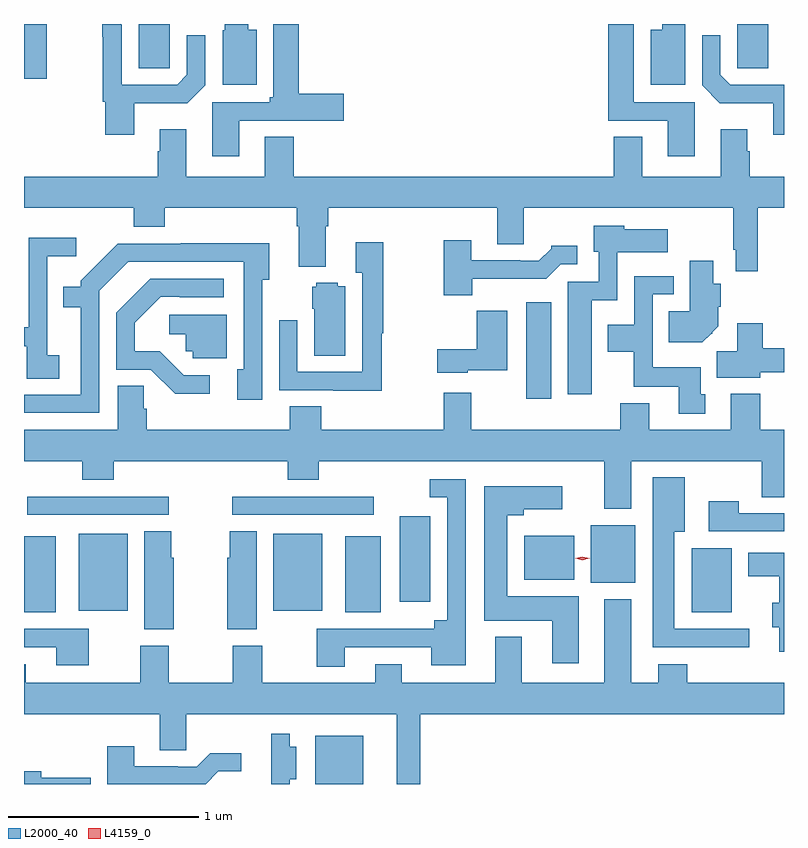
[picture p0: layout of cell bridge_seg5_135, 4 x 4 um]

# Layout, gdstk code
import gdstk
lib = gdstk.Library(unit=1e-6, precision=1e-09)
def R(c, l, rs):  # rectangles x0, y0, x1, y1
    for r in rs: c.add(gdstk.rectangle(r[:2], r[2:], *l))
def P(c, l, *ps):  # polygons
    for p in ps: c.add(gdstk.Polygon(p, *l))
L2000_40 = (2000, 40)
L4159_0 = (4159, 0)

bridge_seg5_135 = lib.new_cell('bridge_seg5_135')
R(bridge_seg5_135, L2000_40, [(313.658,892.356,313.909,892.609), (312.124,893.261,312.292,893.659), (313.814,893.261,314.002,893.659), (315.638,893.261,315.85,893.596), (312.413,893.267,312.67,893.674), (313.436,893.267,313.693,893.674), (314.102,893.316,314.263,893.764), (315.107,893.414,315.34,893.719), (314.756,893.432,315.019,893.662), (312.141,893.772,312.886,893.868), (313.221,893.772,313.966,893.868), (314.768,894.384,314.899,894.892), (312.124,896.067,312.244,896.356)])
P(bridge_seg5_135, L2000_40, [(315.604,896.356),(315.482,896.356),(315.482,896.326),(315.422,896.326),(315.422,896.036),(315.604,896.036)],
  [(315.655,895.944),(315.334,895.944),(315.334,896.356),(315.2,896.356),(315.2,895.848),(315.512,895.848),(315.512,895.659),(315.655,895.659)],
  [(313.258,895.848),(313.554,895.848),(313.554,895.846),(313.807,895.846),(313.807,895.988),(313.571,895.988),(313.571,896.356),(313.436,896.356),(313.436,895.971),(313.418,895.971),(313.418,895.944),(313.115,895.944),(313.115,895.659),(313.258,895.659)],
  [(312.891,896.233),(312.892,896.233),(312.892,896.356),(312.729,896.356),(312.729,896.122),(312.891,896.122)],
  [(316.041,896.356),(315.878,896.356),(315.878,896.233),(315.879,896.233),(315.879,896.122),(316.041,896.122)],
  [(313.348,896.326),(313.303,896.326),(313.303,896.356),(313.181,896.356),(313.181,896.322),(313.169,896.322),(313.169,896.036),(313.348,896.036)],
  [(312.703,895.94),(312.983,895.94),(313.077,896.034),(313.077,896.296),(312.981,896.296),(312.981,896.088),(312.93,896.037),(312.639,896.037),(312.639,896.351),(312.636,896.351),(312.636,896.356),(312.536,896.356),(312.536,896.29),(312.538,896.29),(312.538,895.947),(312.551,895.947),(312.551,895.773),(312.703,895.773)],
  [(316.124,896.037),(315.84,896.037),(315.789,896.088),(315.789,896.296),(315.693,896.296),(315.693,896.034),(315.787,895.94),(316.067,895.94),(316.067,895.773),(316.124,895.773)],
  [(315.986,895.388),(316.124,895.388),(316.124,895.552),(315.944,895.552),(315.944,895.685),(315.931,895.685),(315.931,895.801),(315.791,895.801),(315.791,895.552),(315.379,895.552),(315.379,895.763),(315.227,895.763),(315.227,895.552),(313.544,895.552),(313.544,895.763),(313.391,895.763),(313.391,895.552),(312.979,895.552),(312.979,895.801),(312.839,895.801),(312.839,895.685),(312.827,895.685),(312.827,895.552),(312.124,895.552),(312.124,895.388),(312.701,895.388),(312.701,895.289),(312.866,895.289),(312.866,895.388),(313.559,895.388),(313.559,895.292),(313.571,895.292),(313.571,895.079),(313.711,895.079),(313.711,895.292),(313.724,895.292),(313.724,895.388),(314.615,895.388),(314.615,895.198),(314.755,895.198),(314.755,895.388),(315.858,895.388),(315.858,895.168),(315.87,895.168),(315.87,895.056),(315.986,895.056)],
  [(315.112,894.902),(315.246,894.902),(315.246,895.154),(315.511,895.154),(315.511,895.276),(315.282,895.276),(315.282,895.294),(315.122,895.294),(315.122,895.158),(315.15,895.158),(315.15,894.999),(314.987,894.999),(314.987,894.408),(315.112,894.408)],
  [(312.31,894.612),(312.246,894.612),(312.246,895.133),(312.4,895.133),(312.4,895.231),(312.148,895.231),(312.148,894.992),(312.15,894.992),(312.15,894.759),(312.124,894.759),(312.124,894.661),(312.138,894.661),(312.138,894.49),(312.31,894.49)],
  [(314.482,895.016),(314.873,895.016),(314.949,895.092),(315.037,895.092),(315.037,895.189),(314.898,895.189),(314.898,895.174),(314.834,895.11),(314.735,895.11),(314.735,895.113),(314.479,895.113),(314.479,895.219),(314.332,895.219),(314.332,894.929),(314.482,894.929)],
  [(314.006,894.729),(314.014,894.729),(314.014,895.207),(313.871,895.207),(313.871,895.046),(313.905,895.046),(313.905,894.525),(313.563,894.525),(313.563,894.796),(313.467,894.796),(313.467,894.429),(313.751,894.429),(313.751,894.425),(314.006,894.425)],
  [(312.519,894.951),(312.672,895.104),(313.281,895.104),(313.281,894.538),(313.247,894.538),(313.247,894.378),(313.377,894.378),(313.377,895.01),(313.414,895.01),(313.414,895.202),(312.949,895.202),(312.949,895.2),(312.618,895.2),(312.423,895.005),(312.423,894.973),(312.331,894.973),(312.331,894.864),(312.422,894.864),(312.422,894.405),(312.124,894.405),(312.124,894.309),(312.519,894.309)],
  [(315.741,894.726),(315.747,894.726),(315.747,894.734),(315.778,894.765),(315.778,894.868),(315.791,894.868),(315.791,894.99),(315.751,894.99),(315.751,895.111),(315.629,895.111),(315.629,894.844),(315.517,894.844),(315.517,894.68),(315.695,894.68)],
  [(315.709,894.408),(315.685,894.408),(315.685,894.55),(315.432,894.55),(315.432,894.933),(315.544,894.933),(315.544,895.029),(315.336,895.029),(315.336,894.772),(315.197,894.772),(315.197,894.632),(315.334,894.632),(315.334,894.446),(315.569,894.446),(315.569,894.306),(315.709,894.306)],
  [(313.102,894.507),(312.966,894.507),(312.839,894.634),(312.706,894.634),(312.706,894.784),(312.843,894.921),(312.943,894.921),(312.943,894.918),(313.174,894.918),(313.174,895.014),(312.788,895.014),(312.609,894.835),(312.609,894.537),(312.792,894.537),(312.92,894.41),(313.102,894.41)],
  [(313.816,894.976),(313.776,894.976),(313.776,894.994),(313.662,894.994),(313.662,894.972),(313.64,894.972),(313.64,894.858),(313.652,894.858),(313.652,894.61),(313.816,894.61)],
  [(314.46,894.533),(314.668,894.533),(314.668,894.847),(314.506,894.847),(314.506,894.643),(314.298,894.643),(314.298,894.521),(314.46,894.521)],
  [(313.192,894.825),(312.888,894.825),(312.888,894.722),(312.975,894.722),(312.975,894.633),(313.011,894.633),(313.011,894.597),(313.192,894.597)],
  [(316,894.522),(316.124,894.522),(316.124,894.65),(316.013,894.65),(316.013,894.781),(315.878,894.781),(315.878,894.633),(315.77,894.633),(315.77,894.494),(316,894.494)],
  [(315.319,894.056),(316.006,894.056),(316.006,893.866),(316.124,893.866),(316.124,894.22),(315.998,894.22),(315.998,894.409),(315.845,894.409),(315.845,894.22),(315.415,894.22),(315.415,894.361),(315.263,894.361),(315.263,894.22),(314.479,894.22),(314.479,894.415),(314.332,894.415),(314.332,894.22),(313.688,894.22),(313.688,894.344),(313.523,894.344),(313.523,894.22),(312.77,894.22),(312.77,894.33),(312.755,894.33),(312.755,894.452),(312.617,894.452),(312.617,894.22),(312.124,894.22),(312.124,894.056),(312.431,894.056),(312.431,893.957),(312.596,893.957),(312.596,894.056),(313.511,894.056),(313.511,893.957),(313.676,893.957),(313.676,894.056),(315.179,894.056),(315.179,893.804),(315.319,893.804)],
  [(315.94,893.172),(315.547,893.172),(315.547,893.684),(315.601,893.684),(315.601,893.971),(315.434,893.971),(315.434,893.075),(315.94,893.075)],
  [(313.813,893.076),(314.267,893.076),(314.267,892.982),(314.448,892.982),(314.448,893.961),(314.259,893.961),(314.259,893.865),(314.352,893.865),(314.352,893.218),(314.282,893.218),(314.282,893.172),(313.666,893.172),(313.666,892.974),(313.813,892.974)],
  [(315.043,893.344),(314.668,893.344),(314.668,893.771),(314.755,893.771),(314.755,893.801),(314.956,893.801),(314.956,893.923),(314.546,893.923),(314.546,893.216),(314.903,893.216),(314.903,892.992),(315.043,892.992)],
  [(316.124,893.781),(315.885,893.781),(315.885,893.845),(315.729,893.845),(315.729,893.685),(316.124,893.685)],
  [(313.348,893.687),(313.207,893.687),(313.207,893.547),(313.193,893.547),(313.193,893.171),(313.348,893.171)],
  [(312.913,893.547),(312.9,893.547),(312.9,893.687),(312.758,893.687),(312.758,893.171),(312.913,893.171)],
  [(316.124,893.572),(315.935,893.572),(315.935,893.45),(316.1,893.45),(316.1,893.311),(316.061,893.311),(316.061,893.182),(316.1,893.182),(316.1,893.052),(316.124,893.052)],
  [(314.209,892.724),(316.124,892.724),(316.124,892.888),(315.614,892.888),(315.614,892.987),(315.461,892.987),(315.461,892.888),(315.319,892.888),(315.319,893.329),(315.179,893.329),(315.179,892.888),(314.743,892.888),(314.743,893.131),(314.603,893.131),(314.603,892.888),(314.113,892.888),(314.113,892.987),(313.973,892.987),(313.973,892.888),(313.377,892.888),(313.377,893.083),(313.222,893.083),(313.222,892.888),(312.885,892.888),(312.885,893.083),(312.737,893.083),(312.737,892.888),(312.133,892.888),(312.133,892.987),(312.124,892.987),(312.124,892.724),(312.839,892.724),(312.839,892.534),(312.978,892.534),(312.978,892.724),(314.087,892.724),(314.087,892.356),(314.209,892.356)],
  [(312.466,893.172),(312.124,893.172),(312.124,893.076),(312.293,893.076),(312.293,892.982),(312.466,892.982)],
  [(313.522,892.382),(313.558,892.382),(313.558,892.552),(313.522,892.552),(313.522,892.621),(313.424,892.621),(313.424,892.398),(313.425,892.398),(313.425,892.356),(313.522,892.356)],
  [(313.146,892.422),(313.267,892.422),(313.267,892.519),(313.105,892.519),(313.032,892.446),(312.932,892.446),(312.932,892.449),(312.703,892.449),(312.703,892.555),(312.563,892.555),(312.563,892.356),(313.08,892.356)],
  [(312.475,892.389),(312.214,892.389),(312.214,892.423),(312.124,892.423),(312.124,892.356),(312.475,892.356)])
P(bridge_seg5_135, L4159_0, [(315.063,893.533),(315.024,893.543),(315.023,893.543),(315.024,893.543),(315.063,893.553),(315.102,893.543),(315.102,893.543),(315.102,893.543)])

lib.write_gds('bridge_seg5_135.gds')
